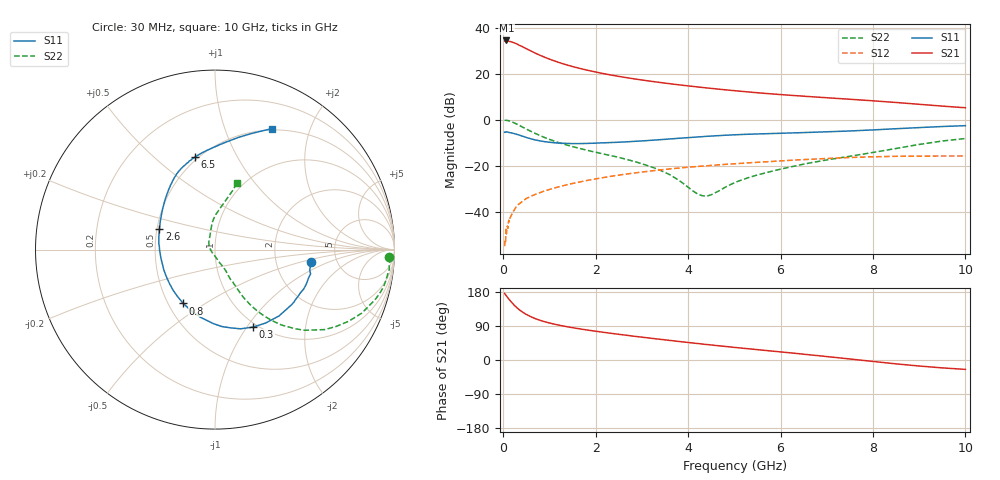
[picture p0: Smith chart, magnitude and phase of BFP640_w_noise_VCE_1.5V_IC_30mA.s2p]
! Infineon Technologies  Discrete & RF Semiconductors
! BFP640
! VCE =  1.5 V,  IC =  30 mA
! Common Emitter S-Parameters:  Apr 2013
# GHz  S  MA  R  50
!  f  S11  S21  S12  S22
! GHz  MAG  ANG  MAG  ANG  MAG  ANG  MAG  ANG
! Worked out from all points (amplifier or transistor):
!   99 points, 30 MHz to 10 GHz, reference 50 ohm
!   highest |S21| = 34.5 dB at 70 MHz (marker M1)
!   |S21| within 3 dB of that: start of sweep to 443.6 MHz
!   unconditionally stable (mu >= 1): 2.137 GHz to end of sweep
!   at 350 MHz: K = 0.37, MSG = 34.4 dB, |S12| = -36.5 dB
!   at 3.5 GHz: K = 1.05, MAG = 17.3 dB, |S12| = -21.6 dB
!   at 10 GHz: K = 1.07, MAG = 8.9 dB, |S12| = -15.7 dB
!   lowest NFmin = 1.07 dB at 450 MHz
!   S11 on the Smith chart (normalised r, x): 30 MHz: 3.19, -0.60; 300 MHz: 0.95, -1.07; 800 MHz: 0.60, -0.41; 2.6 GHz: 0.52, +0.13; 6.5 GHz: 0.48, +0.69; 10 GHz: 0.48, +1.47
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0.03  0.5365 -7.2  51.31 175.5  0.0018 96.3  0.9714 -2.5
0.07  0.5447 -16.9  52.88 169.0  0.0033 80.3  0.9728 -7.8
0.12  0.5312 -29.1  50.89 161.0  0.0066 78.1  0.9524 -14.3
0.2  0.5137 -46.1  48.38 149.6  0.0095 75.9  0.8912 -23.4
0.25  0.4968 -55.5  46.5 143.2  0.0115 74.6  0.8462 -28.1
0.3  0.4809 -63.8  44.18 137.5  0.0139 70.1  0.7992 -32.4
0.35  0.4638 -72.1  41.45 132.3  0.015 67.5  0.7563 -36.1
0.4  0.4453 -78.5  39.51 127.9  0.0165 67.0  0.7073 -39.3
0.5  0.4129 -91.1  35.02 120.3  0.0195 64.4  0.6281 -44.6
0.6  0.386 -102.0  31.21 114.1  0.0219 62.2  0.5601 -48.6
0.7  0.3641 -111.9  27.86 108.9  0.0241 61.1  0.5027 -51.5
0.8  0.3481 -120.5  25.1 104.6  0.0263 60.5  0.4531 -53.8
1  0.3253 -135.6  20.79 97.7  0.0307 59.6  0.3759 -57.0
1.2  0.3121 -148.2  17.65 92.1  0.0349 58.8  0.3201 -58.9
1.7  0.3052 -172.3  12.74 81.3  0.0456 56.8  0.2324 -60.6
2.6  0.3297 159.9  8.438 66.3  0.065 51.1  0.1437 -63.0
3.4  0.371 141.7  6.453 54.5  0.0815 44.4  0.0797 -70.2
5.1  0.4767 115.8  4.201 32.1  0.1125 29.7  0.0471 136.5
6.5  0.5283 102.0  3.258 15.3  0.1367 17.3  0.1089 102.6
6.7  0.5362 99.8  3.157 12.8  0.1398 15.4  0.1189 100.5
8.5  0.64 78.0  2.377 -10.2  0.1611 -3.0  0.2383 82.1
10  0.7457 64.7  1.827 -24.8  0.164 -14.9  0.3921 71.7
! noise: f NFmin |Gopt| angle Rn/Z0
0.45  1.07  0.19  -171  0.03
0.9  1.08  0.2  -159  0.04
1.5  1.09  0.23  -144  0.06
1.9  1.1  0.24  -135  0.07
2.4  1.13  0.27  -122  0.09
3.5  1.26  0.31  -105  0.13
5.5  1.46  0.33  -92  0.21
10  1.93  0.6  -52  0.58
